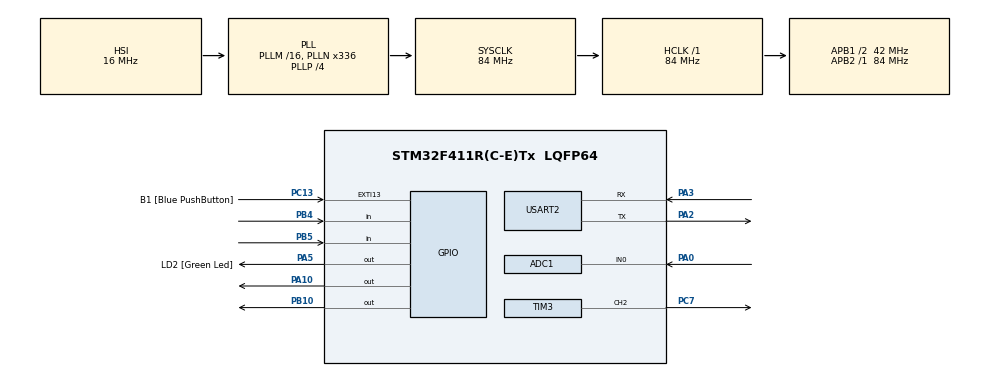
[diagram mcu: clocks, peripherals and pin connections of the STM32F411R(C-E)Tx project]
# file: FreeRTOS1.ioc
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ADC1.Channel-5\#ChannelRegularConversion=ADC_CHANNEL_0
ADC1.ContinuousConvMode=ENABLE
ADC1.EOCSelection=ADC_EOC_SEQ_CONV
ADC1.NbrOfConversionFlag=1
ADC1.Rank-5\#ChannelRegularConversion=1
ADC1.SamplingTime-5\#ChannelRegularConversion=ADC_SAMPLETIME_3CYCLES
ADC1.master=1
FREERTOS.INCLUDE_vTaskDelayUntil=1
FREERTOS.Tasks01=defaultTask,0,128,StartDefaultTask,Default
Mcu.Family=STM32F4
Mcu.Name=STM32F411R(C-E)Tx
Mcu.Package=LQFP64
NVIC.PriorityGroup=NVIC_PRIORITYGROUP_4
PA0-WKUP.Signal=ADCx_IN0
PA10.Signal=GPIO_Output
PA13.GPIO_Label=TMS
PA13.Signal=SYS_JTMS-SWDIO
PA14.GPIO_Label=TCK
PA14.Signal=SYS_JTCK-SWCLK
PA2.Mode=Asynchronous
PA2.Signal=USART2_TX
PA3.Mode=Asynchronous
PA3.Signal=USART2_RX
PA5.GPIO_Label=LD2 [Green Led]
PA5.Signal=GPIO_Output
PB10.Signal=GPIO_Output
PB3.GPIO_Label=SWO
PB3.Signal=SYS_JTDO-SWO
PB4.Signal=GPIO_Input
PB5.Signal=GPIO_Input
PC13-ANTI_TAMP.GPIO_Label=B1 [Blue PushButton]
PC13-ANTI_TAMP.GPIO_ModeDefaultEXTI=GPIO_MODE_EVT_RISING
PC13-ANTI_TAMP.Signal=GPXTI13
PC14-OSC32_IN.Signal=RCC_OSC32_IN
PC15-OSC32_OUT.Signal=RCC_OSC32_OUT
PC7.Signal=S_TIM3_CH2
PH0\ -\ OSC_IN.Signal=RCC_OSC_IN
PH1\ -\ OSC_OUT.Signal=RCC_OSC_OUT
ProjectManager.HeapSize=0x200
ProjectManager.StackSize=0x400
ProjectManager.TargetToolchain=SW4STM32
RCC.48MHZClocksFreq_Value=84000000
RCC.AHBFreq_Value=84000000
RCC.APB1CLKDivider=RCC_HCLK_DIV2
RCC.APB1Freq_Value=42000000
RCC.APB1TimFreq_Value=84000000
RCC.APB2Freq_Value=84000000
RCC.APB2TimFreq_Value=84000000
RCC.CortexFreq_Value=84000000
RCC.FLatency-AdvancedSettings=FLASH_LATENCY_2
RCC.HCLKFreq_Value=84000000
RCC.HSE_VALUE=8000000
RCC.HSI_VALUE=16000000
RCC.LSE_VALUE=32768
RCC.PLLN=336
RCC.PLLP=RCC_PLLP_DIV4
RCC.SYSCLKFreq_VALUE=84000000
RCC.SYSCLKSource=RCC_SYSCLKSOURCE_PLLCLK
RCC.VCOOutputFreq_Value=336000000
SH.ADCx_IN0.0=ADC1_IN0,IN0
SH.S_TIM3_CH2.0=TIM3_CH2,PWM Generation2 CH2
TIM3.Channel-PWM\ Generation2\ CH2=TIM_CHANNEL_2
TIM3.Period=499
TIM3.Prescaler=8399
TIM3.Pulse-PWM\ Generation2\ CH2=200
VP_FREERTOS_VS_ENABLE.Mode=Enabled
board=NUCLEO-F411RE

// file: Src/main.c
/**
  ******************************************************************************
  * File Name          : main.c
  * Description        : Main program body
  ******************************************************************************
  *
  * COPYRIGHT(c) 2016 STMicroelectronics
  *
  * Redistribution and use in source and binary forms, with or without modification,
  * are permitted provided that the following conditions are met:
  *   1. Redistributions of source code must retain the above copyright notice,
  *      this list of conditions and the following disclaimer.
  *   2. Redistributions in binary form must reproduce the above copyright notice,
  *      this list of conditions and the following disclaimer in the documentation
  *      and/or other materials provided with the distribution.
  *   3. Neither the name of STMicroelectronics nor the names of its contributors
  *      may be used to endorse or promote products derived from this software
  *      without specific prior written permission.
  *
  * THIS SOFTWARE IS PROVIDED BY THE COPYRIGHT HOLDERS AND CONTRIBUTORS "AS IS"
  * AND ANY EXPRESS OR IMPLIED WARRANTIES, INCLUDING, BUT NOT LIMITED TO, THE
  * IMPLIED WARRANTIES OF MERCHANTABILITY AND FITNESS FOR A PARTICULAR PURPOSE ARE
  * DISCLAIMED. IN NO EVENT SHALL THE COPYRIGHT HOLDER OR CONTRIBUTORS BE LIABLE
  * FOR ANY DIRECT, INDIRECT, INCIDENTAL, SPECIAL, EXEMPLARY, OR CONSEQUENTIAL
  * DAMAGES (INCLUDING, BUT NOT LIMITED TO, PROCUREMENT OF SUBSTITUTE GOODS OR
  * SERVICES; LOSS OF USE, DATA, OR PROFITS; OR BUSINESS INTERRUPTION) HOWEVER
  * CAUSED AND ON ANY THEORY OF LIABILITY, WHETHER IN CONTRACT, STRICT LIABILITY,
  * OR TORT (INCLUDING NEGLIGENCE OR OTHERWISE) ARISING IN ANY WAY OUT OF THE USE
  * OF THIS SOFTWARE, EVEN IF ADVISED OF THE POSSIBILITY OF SUCH DAMAGE.
  *
  ******************************************************************************
  */
#include "stm32f4xx_hal.h"
#include "cmsis_os.h"

/* USER CODE BEGIN Includes */
#include <stdlib.h>
#include <string.h>
/* USER CODE END Includes */

ADC_HandleTypeDef hadc1;

TIM_HandleTypeDef htim3;

UART_HandleTypeDef huart2;

osThreadId defaultTaskHandle;

/* USER CODE BEGIN PV */
#define M_LOG_LENGTH        (20)
#define M_LOG_NUM           (10)
#define M_MOTOR_LENGTH      (1)   //b7...0:sw, 1:vol
#define M_MOTOR_NUM         (10)
/* Private variables ---------------------------------------------------------*/
static xQueueHandle         mLogQueueHdl;
static xQueueHandle         mMotorQueueHdl;
static TIM_OC_InitTypeDef   mPwmConfig;
/* USER CODE END PV */

void SystemClock_Config(void);
void Error_Handler(void);
static void MX_GPIO_Init(void);
static void MX_USART2_UART_Init(void);
static void MX_ADC1_Init(void);
static void MX_TIM3_Init(void);
void StartDefaultTask(void const * argument);

void HAL_TIM_MspPostInit(TIM_HandleTypeDef *htim);

/* USER CODE BEGIN PFP */
/* Private function prototypes -----------------------------------------------*/
void StartUartTask(void *argument);
void StartSwTask(void *argument);
void StartVolTask(void *argument);
void StartMotorTask(void *argument);

/* USER CODE END PFP */

int main(void)
{

  /* MCU Configuration----------------------------------------------------------*/

  /* Reset of all peripherals, Initializes the Flash interface and the Systick. */
  HAL_Init();

  /* Configure the system clock */
  SystemClock_Config();

  /* Initialize all configured peripherals */
  MX_GPIO_Init();
  MX_USART2_UART_Init();
  MX_ADC1_Init();
  MX_TIM3_Init();

  /* Create the thread(s) */
  /* definition and creation of defaultTask */
  osThreadDef(defaultTask, StartDefaultTask, osPriorityNormal, 0, 128);
  defaultTaskHandle = osThreadCreate(osThread(defaultTask), NULL);

  /* USER CODE BEGIN RTOS_THREADS */
  xTaskCreate(StartUartTask, "uartTask", 128, (void *)NULL, tskIDLE_PRIORITY, NULL);
  xTaskCreate(StartSwTask, "swTask", 128, (void *)NULL, tskIDLE_PRIORITY, NULL);
  xTaskCreate(StartVolTask, "volTask", 128, (void *)NULL, tskIDLE_PRIORITY, NULL);
  xTaskCreate(StartMotorTask, "motorTask", 128, (void *)NULL, tskIDLE_PRIORITY, NULL);
  /* USER CODE END RTOS_THREADS */

  /* USER CODE BEGIN RTOS_QUEUES */
  mLogQueueHdl = xQueueCreate(M_LOG_NUM, M_LOG_LENGTH);
  mMotorQueueHdl = xQueueCreate(M_MOTOR_NUM, M_MOTOR_LENGTH);
  /* USER CODE END RTOS_QUEUES */

  /* Start scheduler */
  osKernelStart();

  /* We should never get here as control is now taken by the scheduler */

  /* Infinite loop */
  while (1)
  {

  }

}

/** System Clock Configuration
*/
void SystemClock_Config(void)
{

  RCC_OscInitTypeDef RCC_OscInitStruct;
  RCC_ClkInitTypeDef RCC_ClkInitStruct;

  __HAL_RCC_PWR_CLK_ENABLE();

  __HAL_PWR_VOLTAGESCALING_CONFIG(PWR_REGULATOR_VOLTAGE_SCALE1);

  RCC_OscInitStruct.OscillatorType = RCC_OSCILLATORTYPE_HSI;
  RCC_OscInitStruct.HSIState = RCC_HSI_ON;
  RCC_OscInitStruct.HSICalibrationValue = 16;
  RCC_OscInitStruct.PLL.PLLState = RCC_PLL_ON;
  RCC_OscInitStruct.PLL.PLLSource = RCC_PLLSOURCE_HSI;
  RCC_OscInitStruct.PLL.PLLM = 16;
  RCC_OscInitStruct.PLL.PLLN = 336;
  RCC_OscInitStruct.PLL.PLLP = RCC_PLLP_DIV4;
  RCC_OscInitStruct.PLL.PLLQ = 4;
  if (HAL_RCC_OscConfig(&RCC_OscInitStruct) != HAL_OK)
  {
    Error_Handler();
  }

  RCC_ClkInitStruct.ClockType = RCC_CLOCKTYPE_HCLK|RCC_CLOCKTYPE_SYSCLK
                              |RCC_CLOCKTYPE_PCLK1|RCC_CLOCKTYPE_PCLK2;
  RCC_ClkInitStruct.SYSCLKSource = RCC_SYSCLKSOURCE_PLLCLK;
  RCC_ClkInitStruct.AHBCLKDivider = RCC_SYSCLK_DIV1;
  RCC_ClkInitStruct.APB1CLKDivider = RCC_HCLK_DIV2;
  RCC_ClkInitStruct.APB2CLKDivider = RCC_HCLK_DIV1;
  if (HAL_RCC_ClockConfig(&RCC_ClkInitStruct, FLASH_LATENCY_2) != HAL_OK)
  {
    Error_Handler();
  }

  HAL_SYSTICK_Config(HAL_RCC_GetHCLKFreq()/1000);

  HAL_SYSTICK_CLKSourceConfig(SYSTICK_CLKSOURCE_HCLK);

  /* SysTick_IRQn interrupt configuration */
  HAL_NVIC_SetPriority(SysTick_IRQn, 15, 0);
}

/* ADC1 init function */
static void MX_ADC1_Init(void)
{

  ADC_ChannelConfTypeDef sConfig;

    /**Configure the global features of the ADC (Clock, Resolution, Data Alignment and number of conversion)
    */
  hadc1.Instance = ADC1;
  hadc1.Init.ClockPrescaler = ADC_CLOCK_SYNC_PCLK_DIV4;
  hadc1.Init.Resolution = ADC_RESOLUTION_12B;
  hadc1.Init.ScanConvMode = DISABLE;
  hadc1.Init.ContinuousConvMode = ENABLE;
  hadc1.Init.DiscontinuousConvMode = DISABLE;
  hadc1.Init.ExternalTrigConvEdge = ADC_EXTERNALTRIGCONVEDGE_NONE;
  hadc1.Init.DataAlign = ADC_DATAALIGN_RIGHT;
  hadc1.Init.NbrOfConversion = 1;
  hadc1.Init.DMAContinuousRequests = DISABLE;
  hadc1.Init.EOCSelection = ADC_EOC_SEQ_CONV;
  if (HAL_ADC_Init(&hadc1) != HAL_OK)
  {
    Error_Handler();
  }

    /**Configure for the selected ADC regular channel its corresponding rank in the sequencer and its sample time.
    */
  sConfig.Channel = ADC_CHANNEL_0;
  sConfig.Rank = 1;
  sConfig.SamplingTime = ADC_SAMPLETIME_3CYCLES;
  if (HAL_ADC_ConfigChannel(&hadc1, &sConfig) != HAL_OK)
  {
    Error_Handler();
  }

}

/* TIM3 init function */
static void MX_TIM3_Init(void)
{

  TIM_MasterConfigTypeDef sMasterConfig;
  TIM_OC_InitTypeDef sConfigOC;

  htim3.Instance = TIM3;
  htim3.Init.Prescaler = 8399;
  htim3.Init.CounterMode = TIM_COUNTERMODE_UP;
  htim3.Init.Period = 499;
  htim3.Init.ClockDivision = TIM_CLOCKDIVISION_DIV1;
  if (HAL_TIM_PWM_Init(&htim3) != HAL_OK)
  {
    Error_Handler();
  }

  sMasterConfig.MasterOutputTrigger = TIM_TRGO_RESET;
  sMasterConfig.MasterSlaveMode = TIM_MASTERSLAVEMODE_DISABLE;
  if (HAL_TIMEx_MasterConfigSynchronization(&htim3, &sMasterConfig) != HAL_OK)
  {
    Error_Handler();
  }

  sConfigOC.OCMode = TIM_OCMODE_PWM1;
  sConfigOC.Pulse = 200;
  sConfigOC.OCPolarity = TIM_OCPOLARITY_HIGH;
  sConfigOC.OCFastMode = TIM_OCFAST_DISABLE;
  if (HAL_TIM_PWM_ConfigChannel(&htim3, &sConfigOC, TIM_CHANNEL_2) != HAL_OK)
  {
    Error_Handler();
  }
/* USER CODE BEGIN PWM */
  mPwmConfig = sConfigOC;
/* USER CODE END PWM */

  HAL_TIM_MspPostInit(&htim3);

}

/* USART2 init function */
static void MX_USART2_UART_Init(void)
{

  huart2.Instance = USART2;
  huart2.Init.BaudRate = 115200;
  huart2.Init.WordLength = UART_WORDLENGTH_8B;
  huart2.Init.StopBits = UART_STOPBITS_1;
  huart2.Init.Parity = UART_PARITY_NONE;
  huart2.Init.Mode = UART_MODE_TX_RX;
  huart2.Init.HwFlowCtl = UART_HWCONTROL_NONE;
  huart2.Init.OverSampling = UART_OVERSAMPLING_16;
  if (HAL_UART_Init(&huart2) != HAL_OK)
  {
    Error_Handler();
  }

}

/** Configure pins as
        * Analog
        * Input
        * Output
        * EVENT_OUT
        * EXTI
*/
static void MX_GPIO_Init(void)
{

  GPIO_InitTypeDef GPIO_InitStruct;

  /* GPIO Ports Clock Enable */
  __HAL_RCC_GPIOC_CLK_ENABLE();
  __HAL_RCC_GPIOH_CLK_ENABLE();
  __HAL_RCC_GPIOA_CLK_ENABLE();
  __HAL_RCC_GPIOB_CLK_ENABLE();

  /*Configure GPIO pin : B1_Pin */
  GPIO_InitStruct.Pin = B1_Pin;
  GPIO_InitStruct.Mode = GPIO_MODE_EVT_RISING;
  GPIO_InitStruct.Pull = GPIO_NOPULL;
  HAL_GPIO_Init(B1_GPIO_Port, &GPIO_InitStruct);

  /*Configure GPIO pins : LD2_Pin PA10 */
  GPIO_InitStruct.Pin = LD2_Pin|GPIO_PIN_10;
  GPIO_InitStruct.Mode = GPIO_MODE_OUTPUT_PP;
  GPIO_InitStruct.Pull = GPIO_NOPULL;
  GPIO_InitStruct.Speed = GPIO_SPEED_FREQ_LOW;
  HAL_GPIO_Init(GPIOA, &GPIO_InitStruct);

  /*Configure GPIO pin : PB10 */
  GPIO_InitStruct.Pin = GPIO_PIN_10;
  GPIO_InitStruct.Mode = GPIO_MODE_OUTPUT_PP;
  GPIO_InitStruct.Pull = GPIO_NOPULL;
  GPIO_InitStruct.Speed = GPIO_SPEED_FREQ_LOW;
  HAL_GPIO_Init(GPIOB, &GPIO_InitStruct);

  /*Configure GPIO pins : PB4 PB5 */
  GPIO_InitStruct.Pin = GPIO_PIN_4|GPIO_PIN_5;
  GPIO_InitStruct.Mode = GPIO_MODE_INPUT;
  GPIO_InitStruct.Pull = GPIO_NOPULL;
  HAL_GPIO_Init(GPIOB, &GPIO_InitStruct);

  /*Configure GPIO pin Output Level */
  HAL_GPIO_WritePin(GPIOA, LD2_Pin|GPIO_PIN_10, GPIO_PIN_RESET);

  /*Configure GPIO pin Output Level */
  HAL_GPIO_WritePin(GPIOB, GPIO_PIN_10, GPIO_PIN_RESET);

}

/* USER CODE BEGIN 4 */
/* StartUartTask function */
void StartUartTask(void *argument)
{
  char  str[M_LOG_LENGTH];

  /* Infinite loop */
  for(;;)
  {
    xQueueReceive(mLogQueueHdl, str, portMAX_DELAY);
    HAL_UART_Transmit(&huart2, (uint8_t *)str, strlen(str), 200);
  }
}

/* SwTask function */
void StartSwTask(void *argument)
{
  const TickType_t xFrequency = 10;
  const int SW_SET = 5;

  TickType_t xLastWakeTime;
  GPIO_PinState prevSw1 = GPIO_PIN_RESET;
  GPIO_PinState prevSw2 = GPIO_PIN_RESET;
  int cntSw1 = 0;
  int cntSw2 = 0;
  char str[M_LOG_LENGTH];
  uint8_t swval = 0;        //b0:ONOFF  b1:DIR

  xLastWakeTime = xTaskGetTickCount();

  /* Infinite loop */
  for(;;)
  {
    vTaskDelayUntil(&xLastWakeTime, xFrequency);

    //
    GPIO_PinState sw1 = HAL_GPIO_ReadPin(GPIOB, GPIO_PIN_4);
    GPIO_PinState sw2 = HAL_GPIO_ReadPin(GPIOB, GPIO_PIN_5);

    int valset = 0;

    if (sw1 == GPIO_PIN_SET) {
      if (prevSw1 == GPIO_PIN_SET) {
        cntSw1++;
        if (cntSw1 == SW_SET) {
          swval ^= 1;   //b0
          cntSw1 = SW_SET + 1;
          valset = 1;
        }
      }
      else {
        prevSw1 = GPIO_PIN_SET;
        cntSw1 = 0;
      }
    }
    else {
        prevSw1 = GPIO_PIN_RESET;
    }

    if (sw2 == GPIO_PIN_SET) {
      if (prevSw2 == GPIO_PIN_SET) {
        cntSw2++;
        if (cntSw2 == SW_SET) {
          swval ^= 2;   //b1
          cntSw2 = SW_SET + 1;
          valset = 1;
        }
      }
      else {
        prevSw2 = GPIO_PIN_SET;
        cntSw2 = 0;
      }
    }
    else {
      prevSw2 = GPIO_PIN_RESET;
    }

    if (valset != 0) {
      //
      sprintf(str, "SW:%x\r\n", swval);
      xQueueSend(mLogQueueHdl, str, portMAX_DELAY);
      xQueueSend(mMotorQueueHdl, &swval, portMAX_DELAY);
    }
  }
}

/* VolTask function */
void StartVolTask(void *argument)
{
  const int HIST = 3;
  const TickType_t xFrequency = 1000;

  TickType_t xLastWakeTime;
  uint8_t volval = 0xff;
  char str[M_LOG_LENGTH];

  xLastWakeTime = xTaskGetTickCount();

  HAL_ADC_Start(&hadc1);

  /* Infinite loop */
  for(;;)
  {
    vTaskDelayUntil(&xLastWakeTime, xFrequency);

    //proc
    uint8_t val = HAL_ADC_GetValue(&hadc1) >> 5;   //12bit --> 7bit
    if (abs(val - volval) >= HIST) {
      sprintf(str, "%d\r\n", val);
      xQueueSend(mLogQueueHdl, str, portMAX_DELAY);
      volval = val;
      val |= 0x80;  //b7=1
      xQueueSend(mMotorQueueHdl, &val, portMAX_DELAY);
    }
  }
}

/* MotorTask function */
void StartMotorTask(void *argument)
{
  uint8_t onoff = 0;
  uint8_t dir = 0;
  uint8_t vol = 0;
  uint8_t val;
  char str[M_LOG_LENGTH] = {0};

  /* Infinite loop */
  for(;;)
  {
    xQueueReceive(mMotorQueueHdl, &val, portMAX_DELAY);

    uint8_t new_onoff = onoff;
    uint8_t new_dir = dir;
    uint8_t new_vol = vol;

//    sprintf(str, "stat:%d:%d:%d\r\n", onoff, dir, vol);
//    xQueueSend(mLogQueueHdl, str, portMAX_DELAY);

    if (val & 0x80) {
      //volume
      new_vol = val & 0x7f;
    }
    else {
      //sw
      new_onoff = val & 0x01;
      new_dir = (val & 0x02) ? 1 : 0;
    }

    if (new_onoff) {
      if ((new_onoff != onoff) || (new_vol != vol)) {
        //ONになったか、ONのまま
        sprintf(str, "Motor:ON\r\n");
        xQueueSend(mLogQueueHdl, str, portMAX_DELAY);

        mPwmConfig.Pulse = 500 * new_vol / 0x80;
        HAL_TIM_PWM_ConfigChannel(&htim3, &mPwmConfig, TIM_CHANNEL_2);
        HAL_TIM_PWM_Start(&htim3, TIM_CHANNEL_2);
      }
      if (new_dir) {
        sprintf(str, "Motor:DIR2\r\n");
        xQueueSend(mLogQueueHdl, str, portMAX_DELAY);
        HAL_GPIO_WritePin(GPIOA, LD2_Pin|GPIO_PIN_10, GPIO_PIN_SET);
        HAL_GPIO_WritePin(GPIOB, GPIO_PIN_10, GPIO_PIN_RESET);
      }
      else {
        sprintf(str, "Motor:DIR1\r\n");
        xQueueSend(mLogQueueHdl, str, portMAX_DELAY);
        HAL_GPIO_WritePin(GPIOA, LD2_Pin|GPIO_PIN_10, GPIO_PIN_RESET);
        HAL_GPIO_WritePin(GPIOB, GPIO_PIN_10, GPIO_PIN_SET);
      }
    }
    else {
      if (new_onoff != onoff) {
        //OFFになった
        sprintf(str, "Motor:OFF\r\n");
        xQueueSend(mLogQueueHdl, str, portMAX_DELAY);
        HAL_TIM_PWM_Stop(&htim3, TIM_CHANNEL_2);
      }
    }

    onoff = new_onoff;
    dir = new_dir;
    vol = new_vol;
//    sprintf(str, "new stat:%d:%d:%d\r\n", onoff, dir, vol);
//    xQueueSend(mLogQueueHdl, str, portMAX_DELAY);

  }
}

/* USER CODE END 4 */

/* StartDefaultTask function */
void StartDefaultTask(void const * argument)
{

  /* USER CODE BEGIN 5 */
  /* Infinite loop */
  for(;;)
  {
    HAL_GPIO_TogglePin(LD2_GPIO_Port, LD2_Pin);
    vTaskDelay(1000 / portTICK_PERIOD_MS);
  }
  /* USER CODE END 5 */
}

void Error_Handler(void)
{
  while(1)
  {
  }
}

/************************ (C) COPYRIGHT STMicroelectronics *****END OF FILE****/
